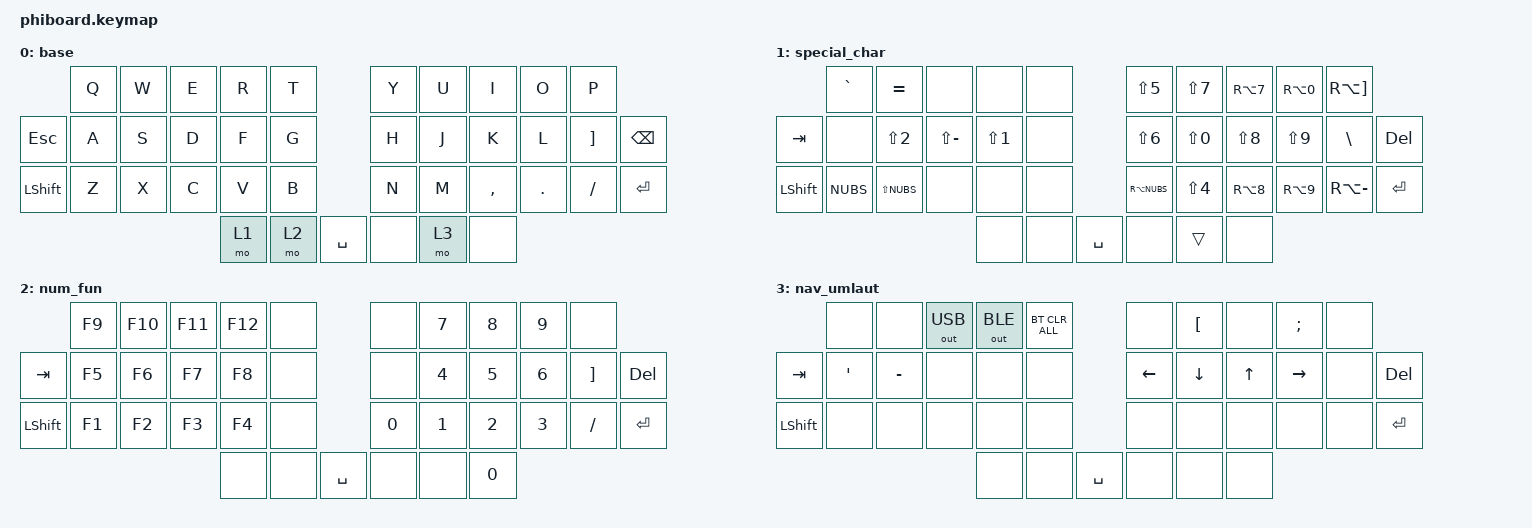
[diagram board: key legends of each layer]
/*
 * Copyright (c) 2020 The ZMK Contributors
 *
 * SPDX-License-Identifier: MIT
 */

#include <behaviors.dtsi>
#include <dt-bindings/zmk/keys.h>
#include <dt-bindings/zmk/outputs.h>
#include <dt-bindings/zmk/bt.h>


/ {

    keymap {
        compatible = "zmk,keymap";

        base {
            bindings = <
            &kp Q       &kp W       &kp E       &kp R       &kp T                       &kp Y       &kp U       &kp I       &kp O       &kp P
&kp ESCAPE  &kp A       &kp S       &kp D       &kp F       &kp G                       &kp H       &kp J       &kp K       &kp L       &kp RBKT    &kp BSPC
&kp LSHIFT  &kp Z       &kp X       &kp C       &kp V       &kp B                       &kp N       &kp M       &kp COMMA   &kp PERIOD  &kp FSLH    &kp ENTER
                                            &mo 1       &mo 2       &kp SPACE   &none       &mo 3       &none
            >;
        };


// For the German keyboard layout
//  %   /   {   }   ~
//  &   =   (   )   #   DEL
//  |   $   [   ]   \   ENTER
        special_char {
            bindings = <
            &kp GRAVE   &kp EQUAL   &none       &none       &none                       &kp LS(N5)  &kp LS(N7)  &kp RA(N7)  &kp RA(N0)  &kp RA(RBKT)
&kp TAB     &none       &kp LS(N2)  &kp LS(MINUS) &kp LS(N1) &none                      &kp LS(N6)  &kp LS(N0)  &kp LS(N8)  &kp LS(N9)  &kp BSLH    &kp DEL
&kp LSHIFT  &kp NUBS    &kp LS(NUBS) &none      &none       &none                       &kp RA(NUBS) &kp LS(N4) &kp RA(N8)  &kp RA(N9)  &kp RA(MINUS) &kp ENTER
                                            &none       &none       &kp SPACE   &none       &trans      &none
            >;
        };


        num_fun {
            bindings = <
            &kp F9      &kp F10     &kp F11     &kp F12     &none                       &none       &kp N7      &kp N8      &kp N9      &none
&kp TAB     &kp F5      &kp F6      &kp F7      &kp F8      &none                       &none       &kp N4      &kp N5      &kp N6      &kp RBKT    &kp DEL
&kp LSHIFT  &kp F1      &kp F2      &kp F3      &kp F4      &none                       &kp N0      &kp N1      &kp N2      &kp N3      &kp FSLH    &kp ENTER
                                            &none       &none       &kp SPACE   &none       &none       &kp N0
            >;
        };


        nav_umlaut {
            bindings = <
            &none       &none       &out OUT_USB &out OUT_BLE &bt BT_CLR_ALL            &none       &kp LBKT    &none       &kp SEMI    &none
&kp TAB     &kp SQT     &kp MINUS   &none       &none       &none                       &kp LEFT    &kp DOWN    &kp UP      &kp RIGHT   &none       &kp DEL
&kp LSHIFT  &none       &none       &none       &none       &none                       &none       &none       &none       &none       &none       &kp ENTER
                                            &none       &none       &kp SPACE   &none       &none       &none
            >;
        };

    };



    combos {
        compatible = "zmk,combos";
        
        // left home row combos
        combo_LSHIFT {
            key-positions = <13 14>;
            bindings = <&sk LSHIFT>;
            timeout-ms = <50>;
            slow-release;
        };
        combo_LCTRL {
            key-positions = <12 14>;
            bindings = <&sk LCTRL>;
            timeout-ms = <50>;
            slow-release;
        };
        combo_LMETA {
            key-positions = <12 13>;
            bindings = <&sk LMETA>;
            timeout-ms = <50>;
            slow-release;
        };
        combo_LALT {
            key-positions = <11 14>;
            bindings = <&sk LALT>;
            timeout-ms = <50>;
            slow-release;
        };
        
        // right home row combos
        combo_RSHIFT {
            key-positions = <17 18>;
            bindings = <&sk RSHIFT>;
            timeout-ms = <50>;
            slow-release;
        };
        combo_RCTRL {
            key-positions = <17 19>;
            bindings = <&sk RCTRL>;
            timeout-ms = <50>;
            slow-release;
        };
        combo_RMETA {
            key-positions = <18 19>;
            bindings = <&sk RMETA>;
            timeout-ms = <50>;
            slow-release;
        };
        combo_RALT {
            key-positions = <17 20>;
            bindings = <&sk RALT>;
            timeout-ms = <50>;
            slow-release;
        };
    };

};
